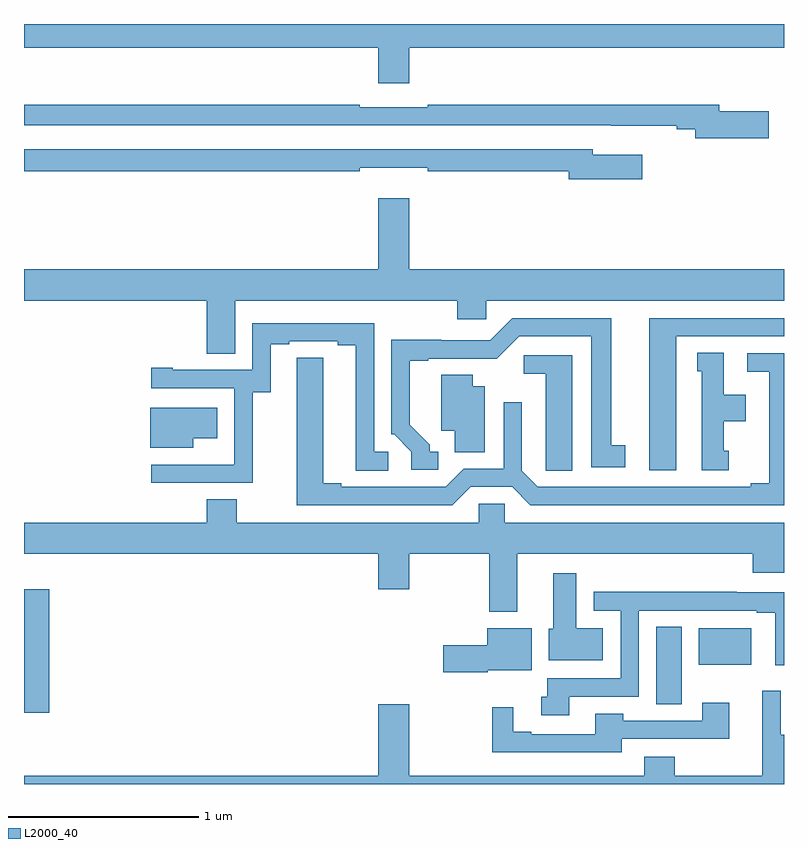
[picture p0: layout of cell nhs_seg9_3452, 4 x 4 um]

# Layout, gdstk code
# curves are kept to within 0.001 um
import gdstk
lib = gdstk.Library(unit=1e-6, precision=1e-09)
def R(c, l, rs):  # rectangles x0, y0, x1, y1
    for r in rs: c.add(gdstk.rectangle(r[:2], r[2:], *l))
def P(c, l, *ps):  # polygons
    for p in ps: c.add(gdstk.Polygon(p, *l))
L2000_40 = (2000, 40)

nhs_seg9_3452 = lib.new_cell('nhs_seg9_3452')
R(nhs_seg9_3452, L2000_40, [(307,1236.876,307.133,1237.525), (310.328,1236.919,310.462,1237.328), (310.55,1237.127,310.828,1237.321)])
P(nhs_seg9_3452, L2000_40, [(309.028,1240.376),(311,1240.376),(311,1240.5),(307,1240.5),(307,1240.376),(308.864,1240.376),(308.864,1240.188),(309.028,1240.188)],
  [(310.921,1240.041),(310.66,1240.041),(310.66,1240.075),(309.124,1240.075),(309.124,1240.062),(308.768,1240.062),(308.768,1240.075),(307,1240.075),(307,1239.966),(310.09,1239.966),(310.09,1239.965),(310.436,1239.965),(310.436,1239.946),(310.532,1239.946),(310.532,1239.899),(310.921,1239.899)],
  [(310.255,1239.811),(309.994,1239.811),(309.994,1239.84),(307,1239.84),(307,1239.724),(308.768,1239.724),(308.768,1239.743),(309.124,1239.743),(309.124,1239.724),(309.866,1239.724),(309.866,1239.682),(310.255,1239.682)],
  [(309.028,1239.583),(308.864,1239.583),(308.864,1239.208),(307,1239.208),(307,1239.044),(307.961,1239.044),(307.961,1238.764),(308.113,1238.764),(308.113,1239.044),(309.281,1239.044),(309.281,1238.946),(309.432,1238.946),(309.432,1239.044),(311,1239.044),(311,1239.208),(309.028,1239.208)],
  [(310.432,1238.856),(311,1238.856),(311,1238.952),(310.292,1238.952),(310.292,1238.151),(310.432,1238.151)],
  [(309.181,1238.25),(309.136,1238.25),(309.136,1238.285),(309.031,1238.39),(309.031,1238.727),(309.127,1238.727),(309.127,1238.739),(309.488,1238.738),(309.606,1238.856),(309.986,1238.856),(309.986,1238.166),(310.165,1238.166),(310.165,1238.282),(310.09,1238.282),(310.09,1238.952),(309.57,1238.952),(309.453,1238.835),(309.197,1238.835),(309.197,1238.837),(308.934,1238.837),(308.934,1238.34),(308.949,1238.34),(309.039,1238.25),(309.039,1238.154),(309.181,1238.154)],
  [(308.205,1238.563),(308.299,1238.563),(308.299,1238.814),(308.395,1238.814),(308.395,1238.829),(308.651,1238.829),(308.651,1238.809),(308.747,1238.809),(308.747,1238.149),(308.917,1238.149),(308.917,1238.25),(308.844,1238.25),(308.844,1238.925),(308.202,1238.925),(308.202,1238.679),(307.783,1238.679),(307.783,1238.692),(307.671,1238.692),(307.671,1238.583),(308.106,1238.583),(308.106,1238.182),(308.105,1238.182),(308.105,1238.181),(307.671,1238.181),(307.671,1238.085),(308.205,1238.085)],
  [(310.708,1238.253),(310.684,1238.253),(310.684,1238.408),(310.798,1238.408),(310.798,1238.548),(310.684,1238.548),(310.684,1238.771),(310.544,1238.771),(310.544,1238.673),(310.568,1238.673),(310.568,1238.151),(310.708,1238.151)],
  [(309.351,1238.064),(309.569,1238.064),(309.665,1237.968),(311,1237.968),(311,1238.766),(310.806,1238.766),(310.806,1238.67),(310.922,1238.67),(310.922,1238.084),(310.826,1238.084),(310.826,1238.064),(309.705,1238.064),(309.621,1238.148),(309.621,1238.509),(309.525,1238.509),(309.525,1238.16),(309.315,1238.16),(309.219,1238.064),(308.671,1238.064),(308.671,1238.084),(308.575,1238.084),(308.575,1238.744),(308.436,1238.744),(308.435,1237.968),(309.255,1237.968)],
  [(309.886,1238.757),(309.63,1238.757),(309.63,1238.66),(309.746,1238.66),(309.746,1238.257),(309.747,1238.257),(309.747,1238.149),(309.886,1238.149)],
  [(309.424,1238.593),(309.361,1238.593),(309.361,1238.654),(309.197,1238.654),(309.197,1238.36),(309.266,1238.36),(309.266,1238.245),(309.424,1238.245)],
  [(307.891,1238.321),(308.017,1238.321),(308.017,1238.479),(307.664,1238.479),(307.664,1238.27),(307.891,1238.27)],
  [(308.121,1238),(307.961,1238),(307.961,1237.876),(307,1237.876),(307,1237.712),(308.864,1237.712),(308.864,1237.524),(309.028,1237.524),(309.028,1237.712),(309.448,1237.712),(309.448,1237.407),(309.595,1237.407),(309.595,1237.712),(310.835,1237.712),(310.835,1237.613),(311,1237.613),(311,1237.876),(309.531,1237.876),(309.531,1237.974),(309.393,1237.974),(309.393,1237.876),(308.121,1237.876)],
  [(310.045,1237.321),(309.907,1237.321),(309.907,1237.609),(309.785,1237.609),(309.785,1237.317),(309.761,1237.317),(309.761,1237.151),(310.045,1237.151)],
  [(309.871,1236.96),(310.236,1236.96),(310.236,1237.413),(310.856,1237.413),(310.856,1237.401),(310.953,1237.401),(310.953,1237.125),(311,1237.125),(311,1237.509),(310.751,1237.509),(310.751,1237.511),(309.999,1237.511),(309.999,1237.413),(310.14,1237.413),(310.14,1237.056),(309.754,1237.056),(309.754,1236.959),(309.723,1236.959),(309.723,1236.861),(309.871,1236.861)],
  [(309.441,1237.1),(309.673,1237.1),(309.673,1237.321),(309.437,1237.321),(309.437,1237.23),(309.207,1237.23),(309.207,1237.088),(309.441,1237.088)],
  [(311,1236.759),(310.984,1236.759),(310.984,1236.991),(310.886,1236.991),(310.886,1236.544),(310.425,1236.544),(310.425,1236.643),(310.265,1236.643),(310.265,1236.544),(309.028,1236.544),(309.028,1236.919),(308.864,1236.919),(308.864,1236.544),(307,1236.544),(307,1236.5),(311,1236.5)],
  [(310.147,1236.738),(310.711,1236.738),(310.711,1236.928),(310.571,1236.928),(310.571,1236.834),(310.155,1236.834),(310.155,1236.871),(310.007,1236.871),(310.007,1236.762),(309.67,1236.762),(309.67,1236.775),(309.574,1236.775),(309.574,1236.904),(309.465,1236.904),(309.465,1236.666),(310.147,1236.666)])

lib.write_gds('nhs_seg9_3452.gds')
